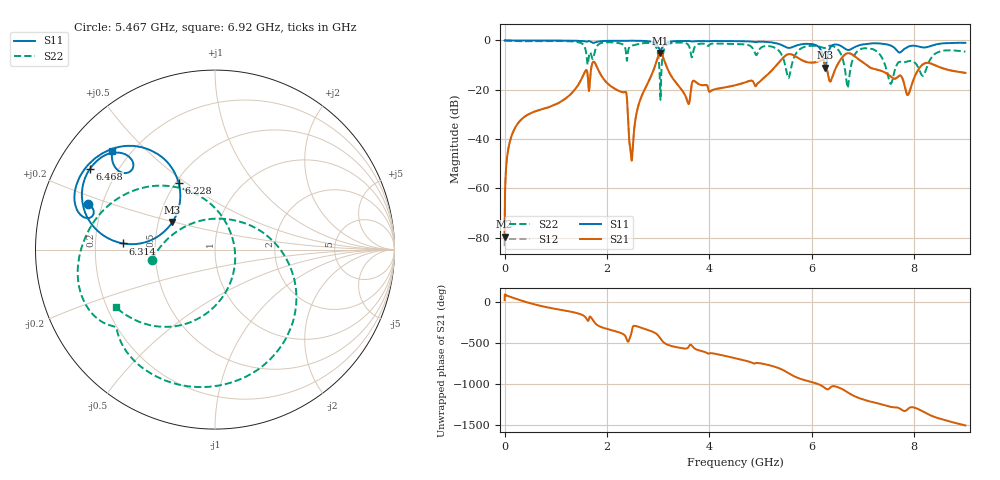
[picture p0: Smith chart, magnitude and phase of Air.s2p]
# Hz S DB R 50
! CMT, C1420, 19038819, 22.4.2/3
! Date: 2023-03-14 09:45:15
! Data: Format (Calibration Info)
! Freq	S11:dB/Ang(F2)	S21:dB/Ang(F2)	S12:dB/Ang(F2)	S22:dB/Ang(F2)
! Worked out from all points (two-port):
!   9001 points, 300 kHz to 9 GHz, reference 50 ohm
!   highest |S21| = -5.03 dB at 3.044 GHz (marker M1); lowest = -79.6 dB at 300 kHz (marker M2)
!   |S21| within 3 dB of the highest: 5.394 GHz to 5.809 GHz (414.7 MHz wide, 7.4 % of centre); 6.553 GHz to 6.939 GHz (386.6 MHz wide, 5.73 % of centre)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
!   lowest |S11| = -11.0 dB at 6.265 GHz (marker M3), VSWR 1.79, Z = 29.6 + j9.9 ohm
!   |S11| at or under -10 dB: 6.249659 GHz to 6.280119 GHz (30.46 MHz wide, 0.486 % of centre)
!   |S22| runs from -24.1 to 0.0 dB; largest |S21 - S12| = 0.013
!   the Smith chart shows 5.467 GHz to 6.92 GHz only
!   S11 on the Smith chart (normalised r, x): 5.467 GHz: 0.15, +0.17; 6.228 GHz: 0.52, +0.47; 6.314 GHz: 0.32, +0.03; 6.468 GHz: 0.10, +0.29; 6.92 GHz: 0.13, +0.40
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300000  -0.04 -0.2  -79.57 23.8  -83.38 146.0  -0.04 -0.2
1.072964e8  -0.01 -3.8  -40.69 65.1  -40.65 64.8  -0.12 -43.6
4.592847e8  -0.03 -15.5  -30.01 -6.8  -30.02 -6.7  -0.29 -176.8
8.512716e8  -0.05 -28.8  -27.13 -66.0  -27.15 -65.9  -0.22 78.6
1.50025e9  -0.22 -52.4  -15.70 -151.5  -15.70 -151.4  -1.08 -60.1
1.777241e9  -0.74 -57.9  -9.60 97.3  -9.55 97.3  -3.54 57.6
2.182227e9  -0.14 -73.9  -19.96 2.9  -19.94 2.9  -0.92 -101.1
2.474218e9  -0.12 -85.1  -47.64 -25.6  -47.10 -28.5  -2.20 134.2
2.70821e9  -0.19 -95.3  -21.07 39.1  -21.10 39.1  -1.10 5.0
3.0002e9  -2.56 -113.9  -6.43 -47.3  -6.43 -47.3  -5.97 -108.1
3.044199e9  -3.98 -102.7  -5.03 -84.0  -5.02 -84.0  -24.11 -62.7
3.89717e9  -0.26 -132.4  -18.13 115.3  -18.19 115.6  -1.30 -177.8
4.50015e9  -0.28 -156.2  -18.19 38.0  -18.15 38.2  -1.43 59.3
5.467118e9  -2.47 160.4  -6.45 -116.6  -6.45 -116.1  -8.96 -171.1
6.0001e9  -1.48 143.9  -9.02 105.7  -8.96 106.0  -2.16 -108.1
6.228092e9  -7.46 118.6  -8.25 47.1  -8.08 47.9  -3.03 -140.8
6.265091e9  -10.98 147.0  -9.51 29.6  -9.22 30.4  -2.97 -143.1
6.31409e9  -5.80 176.2  -13.80 18.0  -13.36 16.6  -2.38 -149.6
6.468084e9  -1.62 147.0  -11.20 52.3  -11.39 52.6  -2.88 172.7
6.920069e9  -1.99 136.2  -7.73 -87.5  -7.70 -86.6  -3.88 -150.0
7.50005e9  -1.76 99.7  -13.98 170.1  -13.87 170.9  -15.27 19.8
9e9  -0.96 55.7  -13.18 -61.6  -13.11 -62.4  -4.57 -10.5
